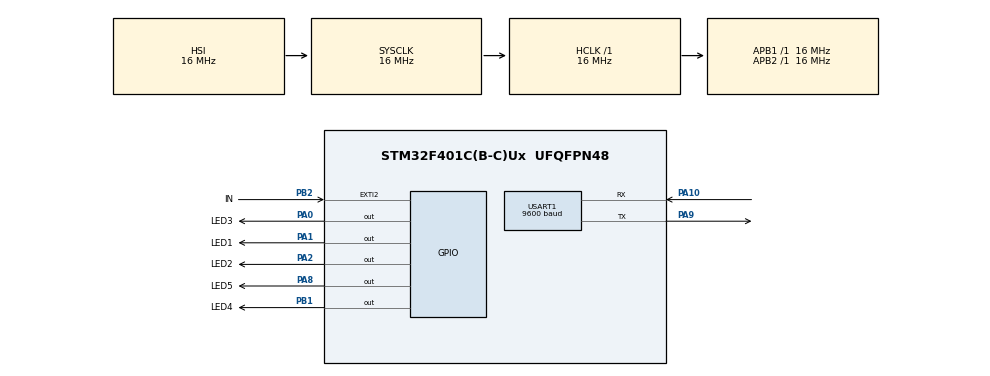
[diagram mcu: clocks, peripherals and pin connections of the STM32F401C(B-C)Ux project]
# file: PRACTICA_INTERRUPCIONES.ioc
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Dma.Request0=USART1_RX
Dma.USART1_RX.0.Direction=DMA_PERIPH_TO_MEMORY
Dma.USART1_RX.0.FIFOMode=DMA_FIFOMODE_DISABLE
Dma.USART1_RX.0.Instance=DMA2_Stream2
Dma.USART1_RX.0.MemDataAlignment=DMA_MDATAALIGN_BYTE
Dma.USART1_RX.0.MemInc=DMA_MINC_ENABLE
Dma.USART1_RX.0.Mode=DMA_NORMAL
Dma.USART1_RX.0.PeriphDataAlignment=DMA_PDATAALIGN_BYTE
Dma.USART1_RX.0.PeriphInc=DMA_PINC_DISABLE
Dma.USART1_RX.0.Priority=DMA_PRIORITY_LOW
Mcu.Family=STM32F4
Mcu.Name=STM32F401C(B-C)Ux
Mcu.Package=UFQFPN48
NVIC.DMA2_Stream2_IRQn=true\:0\:0\:false\:false\:true\:false\:true\:true
NVIC.EXTI2_IRQn=true\:0\:0\:false\:false\:true\:true\:true\:true
NVIC.PriorityGroup=NVIC_PRIORITYGROUP_2
NVIC.TIM1_UP_TIM10_IRQn=true\:3\:0\:true\:false\:true\:true\:true\:true
NVIC.TIM2_IRQn=true\:0\:0\:false\:false\:true\:true\:true\:true
NVIC.USART1_IRQn=true\:0\:0\:false\:false\:true\:true\:true\:true
PA0-WKUP.GPIO_Label=LED3
PA0-WKUP.Signal=GPIO_Output
PA1.GPIO_Label=LED1
PA1.Signal=GPIO_Output
PA10.Mode=Asynchronous
PA10.Signal=USART1_RX
PA2.GPIO_Label=LED2
PA2.Signal=GPIO_Output
PA8.GPIO_Label=LED5
PA8.Signal=GPIO_Output
PA9.Mode=Asynchronous
PA9.Signal=USART1_TX
PB1.GPIO_Label=LED4
PB1.Signal=GPIO_Output
PB2.GPIO_Label=IN
PB2.GPIO_ModeDefaultEXTI=GPIO_MODE_IT_FALLING
PB2.GPIO_PuPd=GPIO_PULLUP
PB2.Signal=GPXTI2
ProjectManager.HeapSize=0x200
ProjectManager.StackSize=0x400
ProjectManager.TargetToolchain=CMake
RCC.AHBFreq_Value=16000000
RCC.APB1Freq_Value=16000000
RCC.APB2Freq_Value=16000000
RCC.CortexFreq_Value=16000000
RCC.HSE_VALUE=25000000
RCC.HSI_VALUE=16000000
RCC.LSE_VALUE=32768
RCC.SYSCLKFreq_VALUE=16000000
RCC.VCOOutputFreq_Value=192000000
TIM1.AutoReloadPreload=TIM_AUTORELOAD_PRELOAD_ENABLE
TIM1.Period=100-1
TIM1.Prescaler=16000-1
TIM2.AutoReloadPreload=TIM_AUTORELOAD_PRELOAD_ENABLE
TIM2.Period=1999-1
TIM2.Prescaler=16000-1
USART1.BaudRate=9600
USART1.VirtualMode=VM_ASYNC
VP_TIM1_VS_ClockSourceINT.Mode=Internal
VP_TIM2_VS_ClockSourceINT.Mode=Internal
board=custom

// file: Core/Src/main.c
/* USER CODE BEGIN Header */
/**
  ******************************************************************************
  * @file           : main.c
  * @brief          : Main program body
  ******************************************************************************
  * @attention
  *
  * Copyright (c) 2026 STMicroelectronics.
  * All rights reserved.
  *
  * This software is licensed under terms that can be found in the LICENSE file
  * in the root directory of this software component.
  * If no LICENSE file comes with this software, it is provided AS-IS.
  *
  ******************************************************************************
  */
/* USER CODE END Header */
#include "main.h"

/* USER CODE BEGIN Includes */
#include "stdio.h"
#include "string.h"
#include "stdlib.h"
#include "UARTRX.h"
#include "uart.h"
/* USER CODE END Includes */

TIM_HandleTypeDef htim1;
TIM_HandleTypeDef htim2;

UART_HandleTypeDef huart1;
DMA_HandleTypeDef hdma_usart1_rx;

void SystemClock_Config(void);
static void MX_GPIO_Init(void);
static void MX_DMA_Init(void);
static void MX_TIM1_Init(void);
static void MX_TIM2_Init(void);
static void MX_USART1_UART_Init(void);

/* USER CODE BEGIN 0 */
void procesa_rx(void)
{
    if(strstr(UARTRX1.trama_rx, "LED5=on"))
    {
        HAL_GPIO_WritePin(LED5_GPIO_Port, LED5_Pin, GPIO_PIN_SET);
    }
    else if(strstr(UARTRX1.trama_rx, "LED5=off"))
    {
        HAL_GPIO_WritePin(LED5_GPIO_Port, LED5_Pin, GPIO_PIN_RESET);
    }
}
/* USER CODE END 0 */

int main(void)
{

  /* MCU Configuration--------------------------------------------------------*/

  /* Reset of all peripherals, Initializes the Flash interface and the Systick. */
  HAL_Init();

  /* Configure the system clock */
  SystemClock_Config();

  /* Initialize all configured peripherals */
  MX_GPIO_Init();
  MX_DMA_Init();
  MX_TIM1_Init();
  MX_TIM2_Init();
  MX_USART1_UART_Init();
  /* USER CODE BEGIN 2 */
  HAL_TIM_Base_Start_IT(&htim1);
  HAL_TIM_Base_Start_IT(&htim2);
  uartRX_it_idle_dma_init( &UARTRX1);
  /* USER CODE END 2 */

  /* Infinite loop */
  /* USER CODE BEGIN WHILE */
  while (1)
  {
    HAL_GPIO_TogglePin(LED1_GPIO_Port, LED1_Pin);
    HAL_Delay(500);

   if (UARTRX1.flag_rx==1)
	  {
	     uartx_write_text(&huart1, UARTRX1.trama_rx);
	     procesa_rx(); //procedimeinto donde se procesan los datos
		  uartRX_DMA_Re_init(&UARTRX1);
	  }
    /* USER CODE END WHILE */

  }
}

void SystemClock_Config(void)
{
  RCC_OscInitTypeDef RCC_OscInitStruct = {0};
  RCC_ClkInitTypeDef RCC_ClkInitStruct = {0};

  /** Configure the main internal regulator output voltage
  */
  __HAL_RCC_PWR_CLK_ENABLE();
  __HAL_PWR_VOLTAGESCALING_CONFIG(PWR_REGULATOR_VOLTAGE_SCALE2);

  /** Initializes the RCC Oscillators according to the specified parameters
  * in the RCC_OscInitTypeDef structure.
  */
  RCC_OscInitStruct.OscillatorType = RCC_OSCILLATORTYPE_HSI;
  RCC_OscInitStruct.HSIState = RCC_HSI_ON;
  RCC_OscInitStruct.HSICalibrationValue = RCC_HSICALIBRATION_DEFAULT;
  RCC_OscInitStruct.PLL.PLLState = RCC_PLL_NONE;
  if (HAL_RCC_OscConfig(&RCC_OscInitStruct) != HAL_OK)
  {
    Error_Handler();
  }

  /** Initializes the CPU, AHB and APB buses clocks
  */
  RCC_ClkInitStruct.ClockType = RCC_CLOCKTYPE_HCLK|RCC_CLOCKTYPE_SYSCLK
                              |RCC_CLOCKTYPE_PCLK1|RCC_CLOCKTYPE_PCLK2;
  RCC_ClkInitStruct.SYSCLKSource = RCC_SYSCLKSOURCE_HSI;
  RCC_ClkInitStruct.AHBCLKDivider = RCC_SYSCLK_DIV1;
  RCC_ClkInitStruct.APB1CLKDivider = RCC_HCLK_DIV1;
  RCC_ClkInitStruct.APB2CLKDivider = RCC_HCLK_DIV1;

  if (HAL_RCC_ClockConfig(&RCC_ClkInitStruct, FLASH_LATENCY_0) != HAL_OK)
  {
    Error_Handler();
  }
}

static void MX_TIM1_Init(void)
{

  TIM_ClockConfigTypeDef sClockSourceConfig = {0};
  TIM_MasterConfigTypeDef sMasterConfig = {0};

  htim1.Instance = TIM1;
  htim1.Init.Prescaler = 16000-1;
  htim1.Init.CounterMode = TIM_COUNTERMODE_UP;
  htim1.Init.Period = 100-1;
  htim1.Init.ClockDivision = TIM_CLOCKDIVISION_DIV1;
  htim1.Init.RepetitionCounter = 0;
  htim1.Init.AutoReloadPreload = TIM_AUTORELOAD_PRELOAD_ENABLE;
  if (HAL_TIM_Base_Init(&htim1) != HAL_OK)
  {
    Error_Handler();
  }
  sClockSourceConfig.ClockSource = TIM_CLOCKSOURCE_INTERNAL;
  if (HAL_TIM_ConfigClockSource(&htim1, &sClockSourceConfig) != HAL_OK)
  {
    Error_Handler();
  }
  sMasterConfig.MasterOutputTrigger = TIM_TRGO_RESET;
  sMasterConfig.MasterSlaveMode = TIM_MASTERSLAVEMODE_DISABLE;
  if (HAL_TIMEx_MasterConfigSynchronization(&htim1, &sMasterConfig) != HAL_OK)
  {
    Error_Handler();
  }

}

static void MX_TIM2_Init(void)
{

  TIM_ClockConfigTypeDef sClockSourceConfig = {0};
  TIM_MasterConfigTypeDef sMasterConfig = {0};

  htim2.Instance = TIM2;
  htim2.Init.Prescaler = 16000-1;
  htim2.Init.CounterMode = TIM_COUNTERMODE_UP;
  htim2.Init.Period = 1999-1;
  htim2.Init.ClockDivision = TIM_CLOCKDIVISION_DIV1;
  htim2.Init.AutoReloadPreload = TIM_AUTORELOAD_PRELOAD_ENABLE;
  if (HAL_TIM_Base_Init(&htim2) != HAL_OK)
  {
    Error_Handler();
  }
  sClockSourceConfig.ClockSource = TIM_CLOCKSOURCE_INTERNAL;
  if (HAL_TIM_ConfigClockSource(&htim2, &sClockSourceConfig) != HAL_OK)
  {
    Error_Handler();
  }
  sMasterConfig.MasterOutputTrigger = TIM_TRGO_RESET;
  sMasterConfig.MasterSlaveMode = TIM_MASTERSLAVEMODE_DISABLE;
  if (HAL_TIMEx_MasterConfigSynchronization(&htim2, &sMasterConfig) != HAL_OK)
  {
    Error_Handler();
  }

}

static void MX_USART1_UART_Init(void)
{

  huart1.Instance = USART1;
  huart1.Init.BaudRate = 9600;
  huart1.Init.WordLength = UART_WORDLENGTH_8B;
  huart1.Init.StopBits = UART_STOPBITS_1;
  huart1.Init.Parity = UART_PARITY_NONE;
  huart1.Init.Mode = UART_MODE_TX_RX;
  huart1.Init.HwFlowCtl = UART_HWCONTROL_NONE;
  huart1.Init.OverSampling = UART_OVERSAMPLING_16;
  if (HAL_UART_Init(&huart1) != HAL_OK)
  {
    Error_Handler();
  }

}

static void MX_DMA_Init(void)
{

  /* DMA controller clock enable */
  __HAL_RCC_DMA2_CLK_ENABLE();

  /* DMA interrupt init */
  /* DMA2_Stream2_IRQn interrupt configuration */
  HAL_NVIC_SetPriority(DMA2_Stream2_IRQn, 0, 0);
  HAL_NVIC_EnableIRQ(DMA2_Stream2_IRQn);

}

static void MX_GPIO_Init(void)
{
  GPIO_InitTypeDef GPIO_InitStruct = {0};

  /* GPIO Ports Clock Enable */
  __HAL_RCC_GPIOA_CLK_ENABLE();
  __HAL_RCC_GPIOB_CLK_ENABLE();

  /*Configure GPIO pin Output Level */
  HAL_GPIO_WritePin(GPIOA, LED3_Pin|LED1_Pin|LED2_Pin|LED5_Pin, GPIO_PIN_RESET);

  /*Configure GPIO pin Output Level */
  HAL_GPIO_WritePin(LED4_GPIO_Port, LED4_Pin, GPIO_PIN_RESET);

  /*Configure GPIO pins : LED3_Pin LED1_Pin LED2_Pin LED5_Pin */
  GPIO_InitStruct.Pin = LED3_Pin|LED1_Pin|LED2_Pin|LED5_Pin;
  GPIO_InitStruct.Mode = GPIO_MODE_OUTPUT_PP;
  GPIO_InitStruct.Pull = GPIO_NOPULL;
  GPIO_InitStruct.Speed = GPIO_SPEED_FREQ_LOW;
  HAL_GPIO_Init(GPIOA, &GPIO_InitStruct);

  /*Configure GPIO pin : LED4_Pin */
  GPIO_InitStruct.Pin = LED4_Pin;
  GPIO_InitStruct.Mode = GPIO_MODE_OUTPUT_PP;
  GPIO_InitStruct.Pull = GPIO_NOPULL;
  GPIO_InitStruct.Speed = GPIO_SPEED_FREQ_LOW;
  HAL_GPIO_Init(LED4_GPIO_Port, &GPIO_InitStruct);

  /*Configure GPIO pin : IN_Pin */
  GPIO_InitStruct.Pin = IN_Pin;
  GPIO_InitStruct.Mode = GPIO_MODE_IT_FALLING;
  GPIO_InitStruct.Pull = GPIO_PULLUP;
  HAL_GPIO_Init(IN_GPIO_Port, &GPIO_InitStruct);

  /* EXTI interrupt init*/
  HAL_NVIC_SetPriority(EXTI2_IRQn, 0, 0);
  HAL_NVIC_EnableIRQ(EXTI2_IRQn);

}

void Error_Handler(void)
{
  __disable_irq();
  while (1)
  {
  }
}
